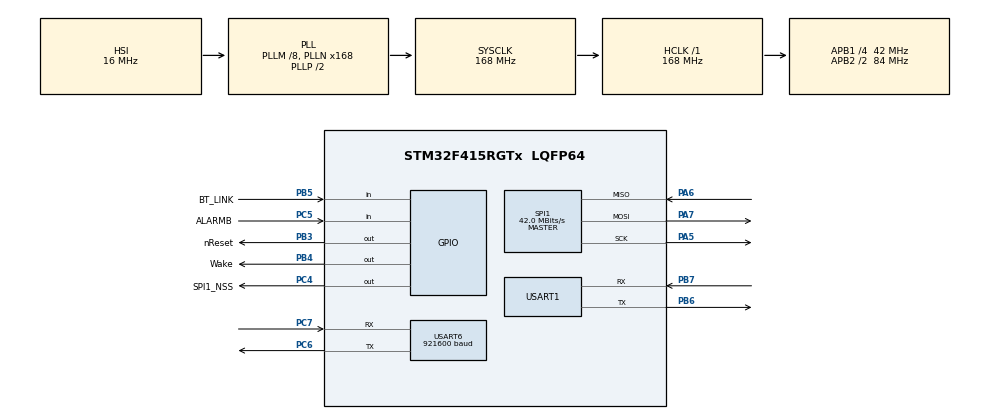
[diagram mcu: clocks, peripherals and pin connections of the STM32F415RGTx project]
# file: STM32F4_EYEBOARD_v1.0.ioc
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Mcu.Family=STM32F4
Mcu.Name=STM32F415RGTx
Mcu.Package=LQFP64
NVIC.PriorityGroup=NVIC_PRIORITYGROUP_4
NVIC.TIM3_IRQn=true\:0\:0\:false\:false\:true\:true\:true
NVIC.USART1_IRQn=true\:0\:0\:false\:false\:true\:true\:true
NVIC.USART6_IRQn=true\:0\:0\:false\:false\:true\:true\:true
PA0-WKUP.Mode=SYS_WakeUp0
PA0-WKUP.Signal=SYS_WKUP
PA13.Mode=Serial_Wire
PA13.Signal=SYS_JTMS-SWDIO
PA14.Mode=Serial_Wire
PA14.Signal=SYS_JTCK-SWCLK
PA5.Mode=Full_Duplex_Master
PA5.Signal=SPI1_SCK
PA6.Mode=Full_Duplex_Master
PA6.Signal=SPI1_MISO
PA7.Mode=Full_Duplex_Master
PA7.Signal=SPI1_MOSI
PB3.GPIO_Label=nReset
PB3.Signal=GPIO_Output
PB4.GPIO_Label=Wake
PB4.Signal=GPIO_Output
PB5.GPIO_Label=BT_LINK
PB5.Signal=GPIO_Input
PB6.Mode=Asynchronous
PB6.Signal=USART1_TX
PB7.Mode=Asynchronous
PB7.Signal=USART1_RX
PC4.GPIO_Label=SPI1_NSS
PC4.Signal=GPIO_Output
PC5.GPIO_Label=ALARMB
PC5.Signal=GPIO_Input
PC6.Mode=Asynchronous
PC6.Signal=USART6_TX
PC7.Mode=Asynchronous
PC7.Signal=USART6_RX
PH0-OSC_IN.Mode=HSE-External-Oscillator
PH0-OSC_IN.Signal=RCC_OSC_IN
PH1-OSC_OUT.Mode=HSE-External-Oscillator
PH1-OSC_OUT.Signal=RCC_OSC_OUT
ProjectManager.HeapSize=0x200
ProjectManager.StackSize=0x400
ProjectManager.TargetToolchain=MDK-ARM V5
RCC.48MHZClocksFreq_Value=84000000
RCC.AHBFreq_Value=168000000
RCC.APB1CLKDivider=RCC_HCLK_DIV4
RCC.APB1Freq_Value=42000000
RCC.APB1TimFreq_Value=84000000
RCC.APB2CLKDivider=RCC_HCLK_DIV2
RCC.APB2Freq_Value=84000000
RCC.APB2TimFreq_Value=168000000
RCC.CortexFreq_Value=168000000
RCC.HCLKFreq_Value=168000000
RCC.HSE_VALUE=25000000
RCC.HSI_VALUE=16000000
RCC.LSE_VALUE=32768
RCC.PLLM=8
RCC.PLLN=168
RCC.SYSCLKFreq_VALUE=168000000
RCC.SYSCLKSource=RCC_SYSCLKSOURCE_PLLCLK
RCC.VCOOutputFreq_Value=336000000
SPI1.CalculateBaudRate=42.0 MBits/s
SPI1.Direction=SPI_DIRECTION_2LINES
SPI1.Mode=SPI_MODE_MASTER
SPI1.VirtualType=VM_MASTER
TIM3.Period=1639
TIM3.Prescaler=200
USART1.VirtualMode=VM_ASYNC
USART6.BaudRate=921600
USART6.VirtualMode=VM_ASYNC
VP_TIM3_VS_ClockSourceINT.Mode=Internal
board=custom

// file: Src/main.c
/* USER CODE BEGIN Header */
/**
  ******************************************************************************
  * @file           : main.c
  * @brief          : Main program body
  ******************************************************************************
  * @attention
  *
  * <h2><center>&copy; Copyright (c) 2020 STMicroelectronics.
  * All rights reserved.</center></h2>
  *
  * This software component is licensed by ST under BSD 3-Clause license,
  * the "License"; You may not use this file except in compliance with the
  * License. You may obtain a copy of the License at:
  *                        opensource.org/licenses/BSD-3-Clause
  *
  ******************************************************************************
  */
/* USER CODE END Header */

#include "main.h"

/* USER CODE BEGIN Includes */
#include "TI_ADS1293.h"
#include "jdy16.h"
#include "stm32f4xx_hal.h"
#include "stdio.h"
#include "stdbool.h"
/* USER CODE END Includes */

SPI_HandleTypeDef hspi1;

TIM_HandleTypeDef htim3;

UART_HandleTypeDef huart1;
UART_HandleTypeDef huart6;

/* USER CODE BEGIN PV */
////////BLE////////////
uint8_t BT_data[64];
uint8_t rx_index = 0;
uint8_t rx_data, rx_data_mcu;
bool sendCommand = false;
uint8_t app_command;
//////////EOG/////////////
bool is_ads1293_init = false;
uint8_t ads1293_val1[6], ads1293_val2;
unsigned long eog_ch1 = 0, eog_ch2 = 0;
unsigned long blink1_V[205], blink2_V[205], blink3_V[205], blink4_V[205], blink5_V[205];
unsigned long blink1_H[205], blink2_H[205], blink3_H[205], blink4_H[205], blink5_H[205];
bool sample2 = false, sample3 = false, sample4 = false, sample5 = false;
bool analyze1 = false, analyze2 = false, analyze3 = false, analyze4 = false, analyze5 = false;		//flag for blink detection
double normalized[205];
int count1 = 0, count2 = 0, count3 = 0, count4 = 0, count5 = 0;			//blink_[] index counter
bool calib = false, operate = false;											//operation mode
unsigned long LEFT, RIGHT, UP, DOWN;
unsigned long int leftThreshold, rightThreshold, upThreshold, downThreshold;
int dir = 0, region = -1;									//dir= direction counter for calibration	region=return region(final result)
int pos1[205], pos2[205], pos3[205], pos4[205], pos5[205];			//dataframe eye gaze position distribution array
/* USER CODE END PV */

void SystemClock_Config(void);
static void MX_GPIO_Init(void);
static void MX_SPI1_Init(void);
static void MX_TIM3_Init(void);
static void MX_USART1_UART_Init(void);
static void MX_USART6_UART_Init(void);
/* USER CODE BEGIN PFP */
void HAL_TIM_PeriodElapsedCallback(TIM_HandleTypeDef *htim);
void normalization (unsigned long *dataframe);
bool blink_detection(void);
void reset(void);					//CLEAR all dataframe
void getThreshold(void);
int direction(unsigned long, unsigned long);
int dominant_pos(int*);
////////////for printf//////////
#ifdef __GNUC__
	#define PUTCHAR_PROTOTYPE int __io_putchar(int ch)
#else
	#define PUTCHAR_PROTOTYPE int fputc(int ch, FILE *f)
#endif

PUTCHAR_PROTOTYPE{
	HAL_UART_Transmit(&huart6, (uint8_t*)&ch, 1, 100);

	return ch;
}
/* USER CODE END PFP */

int main(void)
{

  /* MCU Configuration--------------------------------------------------------*/

  /* Reset of all peripherals, Initializes the Flash interface and the Systick. */
  HAL_Init();

  /* Configure the system clock */
  SystemClock_Config();

  /* Initialize all configured peripherals */
  MX_GPIO_Init();
  MX_SPI1_Init();
  MX_TIM3_Init();
  MX_USART1_UART_Init();
  MX_USART6_UART_Init();
	Ads1293_Init();
	Ads1293_Config(&is_ads1293_init, hspi1);
	HAL_UART_Receive_IT(&huart1, &rx_data, 1);
	JDY16_init(huart1);
	HAL_UART_Receive_IT(&huart6, &rx_data_mcu, 1);
	HAL_TIM_Base_Start_IT(&htim3);

  /* Infinite loop */
  /* USER CODE BEGIN WHILE */
  while (1)
  {
		if(calib){
			if(dir == 4){
					calib = false;
					dir = 0;
					getThreshold();
					operate = true;
					uint8_t input = '6';
					HAL_UART_Transmit(&huart1, &input, 1, 100);
			}
		}
		else if(operate){
			if(analyze1){
				normalization(blink1_V);
				region = dominant_pos(pos1);
				if(blink_detection() && region!=-1){
					printf("Region %d\r\n", region);
					uint8_t input = region + '0';
					HAL_UART_Transmit(&huart1, &input, 1, 100);
					HAL_Delay(500);
					reset();
				}
				analyze1 = false;
			}
			else if(analyze2){
				normalization(blink2_V);
				region = dominant_pos(pos2);
				if(blink_detection() && region!=-1){
					printf("Region %d\r\n", region);
					uint8_t input = region + '0';
					HAL_UART_Transmit(&huart1, &input, 1, 100);
					HAL_Delay(500);
					reset();
				}
				analyze2 = false;
			}
			else if(analyze3){
				normalization(blink3_V);
				region = dominant_pos(pos3);
				if(blink_detection() && region!=-1){
					printf("Region %d\r\n", region);
					uint8_t input = region + '0';
					HAL_UART_Transmit(&huart1, &input, 1, 100);
					HAL_Delay(500);
					reset();
				}
				analyze3 = false;
			}
			else if(analyze4){
				normalization(blink4_V);
				region = dominant_pos(pos4);
				if(blink_detection() && region!=-1){
					printf("Region %d\r\n", region);
					uint8_t input = region + '0';
					HAL_UART_Transmit(&huart1, &input, 1, 100);
					HAL_Delay(500);
					reset();
				}
				analyze4 = false;
			}
			else if(analyze5){
				normalization(blink5_V);
				region = dominant_pos(pos5);
				if(blink_detection() && region!=-1){
					printf("Region %d\r\n", region);
					uint8_t input = region + '0';
					HAL_UART_Transmit(&huart1, &input, 1, 100);
					HAL_Delay(500);
					reset();
				}
				analyze5 = false;
			}
		}
    /* USER CODE END WHILE */

  }
}

void SystemClock_Config(void)
{
  RCC_OscInitTypeDef RCC_OscInitStruct = {0};
  RCC_ClkInitTypeDef RCC_ClkInitStruct = {0};

  /** Configure the main internal regulator output voltage
  */
  __HAL_RCC_PWR_CLK_ENABLE();
  __HAL_PWR_VOLTAGESCALING_CONFIG(PWR_REGULATOR_VOLTAGE_SCALE1);
  /** Initializes the CPU, AHB and APB busses clocks
  */
  RCC_OscInitStruct.OscillatorType = RCC_OSCILLATORTYPE_HSI;
  RCC_OscInitStruct.HSIState = RCC_HSI_ON;
  RCC_OscInitStruct.HSICalibrationValue = RCC_HSICALIBRATION_DEFAULT;
  RCC_OscInitStruct.PLL.PLLState = RCC_PLL_ON;
  RCC_OscInitStruct.PLL.PLLSource = RCC_PLLSOURCE_HSI;
  RCC_OscInitStruct.PLL.PLLM = 8;
  RCC_OscInitStruct.PLL.PLLN = 168;
  RCC_OscInitStruct.PLL.PLLP = RCC_PLLP_DIV2;
  RCC_OscInitStruct.PLL.PLLQ = 4;
  if (HAL_RCC_OscConfig(&RCC_OscInitStruct) != HAL_OK)
  {
    Error_Handler();
  }
  /** Initializes the CPU, AHB and APB busses clocks
  */
  RCC_ClkInitStruct.ClockType = RCC_CLOCKTYPE_HCLK|RCC_CLOCKTYPE_SYSCLK
                              |RCC_CLOCKTYPE_PCLK1|RCC_CLOCKTYPE_PCLK2;
  RCC_ClkInitStruct.SYSCLKSource = RCC_SYSCLKSOURCE_PLLCLK;
  RCC_ClkInitStruct.AHBCLKDivider = RCC_SYSCLK_DIV1;
  RCC_ClkInitStruct.APB1CLKDivider = RCC_HCLK_DIV4;
  RCC_ClkInitStruct.APB2CLKDivider = RCC_HCLK_DIV2;

  if (HAL_RCC_ClockConfig(&RCC_ClkInitStruct, FLASH_LATENCY_5) != HAL_OK)
  {
    Error_Handler();
  }
}

static void MX_SPI1_Init(void)
{

  /* SPI1 parameter configuration*/
  hspi1.Instance = SPI1;
  hspi1.Init.Mode = SPI_MODE_MASTER;
  hspi1.Init.Direction = SPI_DIRECTION_2LINES;
  hspi1.Init.DataSize = SPI_DATASIZE_8BIT;
  hspi1.Init.CLKPolarity = SPI_POLARITY_LOW;
  hspi1.Init.CLKPhase = SPI_PHASE_1EDGE;
  hspi1.Init.NSS = SPI_NSS_SOFT;
  hspi1.Init.BaudRatePrescaler = SPI_BAUDRATEPRESCALER_2;
  hspi1.Init.FirstBit = SPI_FIRSTBIT_MSB;
  hspi1.Init.TIMode = SPI_TIMODE_DISABLE;
  hspi1.Init.CRCCalculation = SPI_CRCCALCULATION_DISABLE;
  hspi1.Init.CRCPolynomial = 10;
  if (HAL_SPI_Init(&hspi1) != HAL_OK)
  {
    Error_Handler();
  }

}

static void MX_TIM3_Init(void)
{

  TIM_ClockConfigTypeDef sClockSourceConfig = {0};
  TIM_MasterConfigTypeDef sMasterConfig = {0};

  htim3.Instance = TIM3;
  htim3.Init.Prescaler = 200;
  htim3.Init.CounterMode = TIM_COUNTERMODE_UP;
  htim3.Init.Period = 1639;
  htim3.Init.ClockDivision = TIM_CLOCKDIVISION_DIV1;
  htim3.Init.AutoReloadPreload = TIM_AUTORELOAD_PRELOAD_DISABLE;
  if (HAL_TIM_Base_Init(&htim3) != HAL_OK)
  {
    Error_Handler();
  }
  sClockSourceConfig.ClockSource = TIM_CLOCKSOURCE_INTERNAL;
  if (HAL_TIM_ConfigClockSource(&htim3, &sClockSourceConfig) != HAL_OK)
  {
    Error_Handler();
  }
  sMasterConfig.MasterOutputTrigger = TIM_TRGO_RESET;
  sMasterConfig.MasterSlaveMode = TIM_MASTERSLAVEMODE_DISABLE;
  if (HAL_TIMEx_MasterConfigSynchronization(&htim3, &sMasterConfig) != HAL_OK)
  {
    Error_Handler();
  }

}

static void MX_USART1_UART_Init(void)
{

  huart1.Instance = USART1;
  huart1.Init.BaudRate = 115200;
  huart1.Init.WordLength = UART_WORDLENGTH_8B;
  huart1.Init.StopBits = UART_STOPBITS_1;
  huart1.Init.Parity = UART_PARITY_NONE;
  huart1.Init.Mode = UART_MODE_TX_RX;
  huart1.Init.HwFlowCtl = UART_HWCONTROL_NONE;
  huart1.Init.OverSampling = UART_OVERSAMPLING_16;
  if (HAL_UART_Init(&huart1) != HAL_OK)
  {
    Error_Handler();
  }

}

static void MX_USART6_UART_Init(void)
{

  huart6.Instance = USART6;
  huart6.Init.BaudRate = 921600;
  huart6.Init.WordLength = UART_WORDLENGTH_8B;
  huart6.Init.StopBits = UART_STOPBITS_1;
  huart6.Init.Parity = UART_PARITY_NONE;
  huart6.Init.Mode = UART_MODE_TX_RX;
  huart6.Init.HwFlowCtl = UART_HWCONTROL_NONE;
  huart6.Init.OverSampling = UART_OVERSAMPLING_16;
  if (HAL_UART_Init(&huart6) != HAL_OK)
  {
    Error_Handler();
  }

}

static void MX_GPIO_Init(void)
{
  GPIO_InitTypeDef GPIO_InitStruct = {0};

  /* GPIO Ports Clock Enable */
  __HAL_RCC_GPIOH_CLK_ENABLE();
  __HAL_RCC_GPIOA_CLK_ENABLE();
  __HAL_RCC_GPIOC_CLK_ENABLE();
  __HAL_RCC_GPIOB_CLK_ENABLE();

  /*Configure GPIO pin Output Level */
  HAL_GPIO_WritePin(SPI1_NSS_GPIO_Port, SPI1_NSS_Pin, GPIO_PIN_RESET);

  /*Configure GPIO pin Output Level */
  HAL_GPIO_WritePin(GPIOB, nReset_Pin|Wake_Pin, GPIO_PIN_RESET);

  /*Configure GPIO pin : SPI1_NSS_Pin */
  GPIO_InitStruct.Pin = SPI1_NSS_Pin;
  GPIO_InitStruct.Mode = GPIO_MODE_OUTPUT_PP;
  GPIO_InitStruct.Pull = GPIO_NOPULL;
  GPIO_InitStruct.Speed = GPIO_SPEED_FREQ_LOW;
  HAL_GPIO_Init(SPI1_NSS_GPIO_Port, &GPIO_InitStruct);

  /*Configure GPIO pin : ALARMB_Pin */
  GPIO_InitStruct.Pin = ALARMB_Pin;
  GPIO_InitStruct.Mode = GPIO_MODE_INPUT;
  GPIO_InitStruct.Pull = GPIO_NOPULL;
  HAL_GPIO_Init(ALARMB_GPIO_Port, &GPIO_InitStruct);

  /*Configure GPIO pins : nReset_Pin Wake_Pin */
  GPIO_InitStruct.Pin = nReset_Pin|Wake_Pin;
  GPIO_InitStruct.Mode = GPIO_MODE_OUTPUT_PP;
  GPIO_InitStruct.Pull = GPIO_NOPULL;
  GPIO_InitStruct.Speed = GPIO_SPEED_FREQ_LOW;
  HAL_GPIO_Init(GPIOB, &GPIO_InitStruct);

  /*Configure GPIO pin : BT_LINK_Pin */
  GPIO_InitStruct.Pin = BT_LINK_Pin;
  GPIO_InitStruct.Mode = GPIO_MODE_INPUT;
  GPIO_InitStruct.Pull = GPIO_NOPULL;
  HAL_GPIO_Init(BT_LINK_GPIO_Port, &GPIO_InitStruct);

}

/* USER CODE BEGIN 4 */
void HAL_TIM_PeriodElapsedCallback(TIM_HandleTypeDef *htim){
	static int calib_count = 0;
	static unsigned long long EOG_temp = 0;
	if(htim->Instance == TIM3){
		Read_Data_Stream(ads1293_val1, 6, hspi1);
		eog_ch1 = ((unsigned long)ads1293_val1[0]<<16 | (unsigned long)ads1293_val1[1]<<8 | (unsigned long)ads1293_val1[2]);
		eog_ch2 = ((unsigned long)ads1293_val1[3]<<16 | (unsigned long)ads1293_val1[4]<<8 | (unsigned long)ads1293_val1[5]);
		//printf("%lu\r\n", eog_ch1);

		if(calib){
			if(dir==0 || dir==1){
				EOG_temp += eog_ch1;
			}
			else if(dir==2 || dir==3){
				EOG_temp += eog_ch2;
			}
			if(calib_count++ == 767){		//3 sec
				uint8_t input = '5';
				if(dir<3){
					HAL_UART_Transmit(&huart1, &input, 1, 100);
				}
				switch(dir++){
					case 0:
						UP = EOG_temp/768;
						printf("DOWN\r\n");
						break;
					case 1:
						DOWN = EOG_temp/768;
						printf("LEFT\r\n");
						break;
					case 2:
						LEFT = EOG_temp/768;
						printf("RIGHT\r\n");
						break;
					case 3:
						RIGHT = EOG_temp/768;
						break;
				}
				EOG_temp = 0;
				calib_count = 0;
			}
		}
		else if(operate){
			if(!sample5){
				if(count1 == 41) sample2 = true;
				if(count2 == 41) sample3 = true;
				if(count3 == 41) sample4 = true;
				if(count4 == 41) sample5 = true;
			}
			blink1_V[count1] = eog_ch1;
			blink1_H[count1] = eog_ch2;
			pos1[count1++] = direction(eog_ch1, eog_ch2);
			if(sample2){
				blink2_V[count2] = eog_ch1;
				blink2_H[count2] = eog_ch2;
				pos2[count2++] = direction(eog_ch1, eog_ch2);
			}
			if(sample3){
				blink3_V[count3] = eog_ch1;
				blink3_H[count3] = eog_ch2;
				pos3[count3++] = direction(eog_ch1, eog_ch2);
			}
			if(sample4){
				blink4_V[count4] = eog_ch1;
				blink4_H[count4] = eog_ch2;
				pos4[count4++] = direction(eog_ch1, eog_ch2);
			}
			if(sample5){
				blink5_V[count5] = eog_ch1;
				blink5_H[count5] = eog_ch2;
				pos5[count5++] = direction(eog_ch1, eog_ch2);
			}
			if(count1 == 205){
				analyze1 = true;
				count1 = 0;
			}
			else if(count2 == 205){
				analyze2 = true;
				count2 = 0;
			}
			else if(count3 == 205){
				analyze3 = true;
				count3 = 0;
			}
			else if(count4 == 205){
				analyze4 = true;
				count4 = 0;
			}
			else if(count5 == 205){
				analyze5 = true;
				count5 = 0;
			}
		}
	}
}

void HAL_UART_RxCpltCallback(UART_HandleTypeDef *huart){
  if(huart->Instance == USART1){
		if(rx_index == 0){
			for(int i=0; i<64; i++){
				BT_data[i] = 0;
			}
		}
		if(rx_data !=13){
			BT_data[rx_index++] = rx_data;
		}
		else{
			if(rx_index==2){
				if(BT_data[1] == 'c'){
					operate = false;
					printf("UP\r\n");
					calib = true;
				}
			}
			rx_index = 0;
		}
		HAL_UART_Receive_IT(&huart1, &rx_data, 1);
	}
	if(huart->Instance == USART6){
		HAL_UART_Transmit(&huart1, &rx_data_mcu, 1, 100);
		HAL_UART_Receive_IT(&huart6, &rx_data_mcu, 1);
	}
}

void normalization (unsigned long *dataframe){
	unsigned long min, max;
	min = max = dataframe[0];
	for (int i = 0; i < 205; i++){
		if (min > dataframe[i])
			min = dataframe[i];
		if (max < dataframe[i])
			max = dataframe[i];
	}
  for (int i = 0; i < 205; i++){
		normalized[i] = ((double) dataframe[i] - (double) min) / ((double) max - (double) min);
	}
}

bool blink_detection (){
  bool down = true;
	int blinkCount = 0;
  for (int i = 0; i < 181; i++){
		double rateOfChange = (normalized[i + 24] - normalized[i]) / 25.0;
		if (down && rateOfChange <= -0.024)
			down = false;
		else if (!down && rateOfChange >= 0.024){
			down = true;
			blinkCount++;
		}
  }
	if(blinkCount == 2) return true;
	return false;
}

void reset(){
	for(int i = 0; i<205; i++){
		blink1_H[i] = blink1_V[i] = 0;
		blink2_H[i] = blink2_V[i] = 0;
		blink3_H[i] = blink3_V[i] = 0;
		blink4_H[i] = blink4_V[i] = 0;
		blink5_H[i] = blink5_V[i] = 0;
		pos1[i] = pos2[i] = pos3[i] = pos4[i] = pos5[i] = -1;
	}
	count1 = count2 = count3 = count4 = count5 = 0;
	sample2 = sample3 = sample4 = sample5 = false;
}

void getThreshold(){
  leftThreshold = LEFT-(LEFT-RIGHT)/4;
  rightThreshold = RIGHT+(LEFT-RIGHT)/4;
  upThreshold = UP+(DOWN-UP)/4;
  downThreshold = DOWN-(DOWN-UP)/4;
}

int direction(unsigned long eog_V, unsigned long eog_H){
	//up
	if(eog_V < upThreshold && (eog_H < leftThreshold && eog_H > rightThreshold)) return 0;
	//down
	else if(eog_V > downThreshold && (eog_H < leftThreshold && eog_H > rightThreshold)) return 1;
	//left
	else if(eog_H > leftThreshold && (eog_V > upThreshold && eog_V < downThreshold)) return 2;
	//right
	else if(eog_H < rightThreshold && (eog_V > upThreshold && eog_V < downThreshold)) return 3;
	//center
	else if(eog_H < leftThreshold && eog_H > rightThreshold && eog_V > upThreshold && eog_V < downThreshold) return 4;
	return -1;
}

int dominant_pos(int* pos){
	int c0 = 0, c1 = 0, c2 = 0, c3 = 0, c4 = 0;
	double percentage = 0.0;
	for(int i = 0; i<205; i++){
		switch(pos[i]){
			case 0: c0++; break;
			case 1: c1++; break;
			case 2: c2++; break;
			case 3: c3++; break;
			case 4: c4++; break;
		}
	}
	if((double)c0/205.0 >= 0.60) return 1;				//up
	else if((double)c1/205.0 >= 0.60) return 3;		//down
	else if((double)c2/205.0 >= 0.60) return 4;		//left
	else if((double)c3/205.0 >= 0.60) return 2;		//right
	else if((double)c4/205.0 >= 0.60) return 0;		//center
	return -1;
}
/* USER CODE END 4 */

void Error_Handler(void)
{
}

/************************ (C) COPYRIGHT STMicroelectronics *****END OF FILE****/
